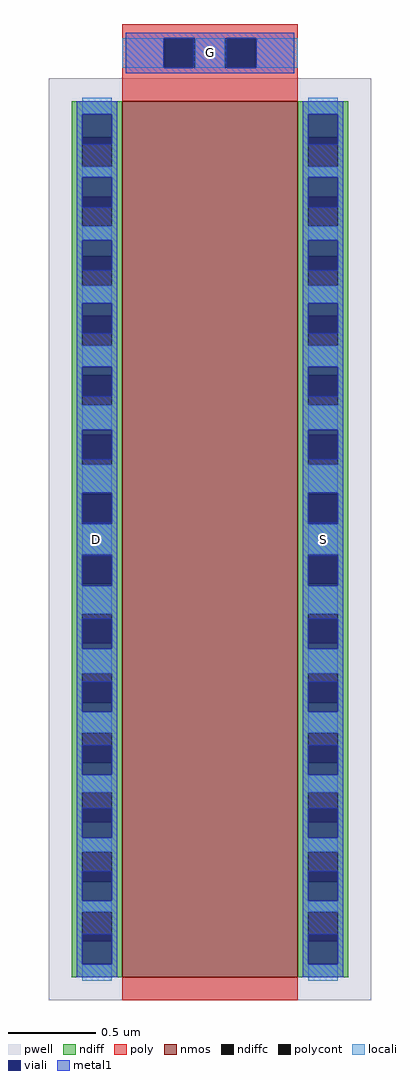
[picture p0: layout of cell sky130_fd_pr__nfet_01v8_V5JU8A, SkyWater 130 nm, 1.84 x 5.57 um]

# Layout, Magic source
magic
tech sky130A
magscale 1 2
<< pwell >>
rect -184 -526 184 526
<< nmos >>
rect -100 -500 100 500
<< ndiff >>
rect -158 459 -100 500
rect -158 425 -146 459
rect -112 425 -100 459
rect -158 391 -100 425
rect -158 357 -146 391
rect -112 357 -100 391
rect -158 323 -100 357
rect -158 289 -146 323
rect -112 289 -100 323
rect -158 255 -100 289
rect -158 221 -146 255
rect -112 221 -100 255
rect -158 187 -100 221
rect -158 153 -146 187
rect -112 153 -100 187
rect -158 119 -100 153
rect -158 85 -146 119
rect -112 85 -100 119
rect -158 51 -100 85
rect -158 17 -146 51
rect -112 17 -100 51
rect -158 -17 -100 17
rect -158 -51 -146 -17
rect -112 -51 -100 -17
rect -158 -85 -100 -51
rect -158 -119 -146 -85
rect -112 -119 -100 -85
rect -158 -153 -100 -119
rect -158 -187 -146 -153
rect -112 -187 -100 -153
rect -158 -221 -100 -187
rect -158 -255 -146 -221
rect -112 -255 -100 -221
rect -158 -289 -100 -255
rect -158 -323 -146 -289
rect -112 -323 -100 -289
rect -158 -357 -100 -323
rect -158 -391 -146 -357
rect -112 -391 -100 -357
rect -158 -425 -100 -391
rect -158 -459 -146 -425
rect -112 -459 -100 -425
rect -158 -500 -100 -459
rect 100 459 158 500
rect 100 425 112 459
rect 146 425 158 459
rect 100 391 158 425
rect 100 357 112 391
rect 146 357 158 391
rect 100 323 158 357
rect 100 289 112 323
rect 146 289 158 323
rect 100 255 158 289
rect 100 221 112 255
rect 146 221 158 255
rect 100 187 158 221
rect 100 153 112 187
rect 146 153 158 187
rect 100 119 158 153
rect 100 85 112 119
rect 146 85 158 119
rect 100 51 158 85
rect 100 17 112 51
rect 146 17 158 51
rect 100 -17 158 17
rect 100 -51 112 -17
rect 146 -51 158 -17
rect 100 -85 158 -51
rect 100 -119 112 -85
rect 146 -119 158 -85
rect 100 -153 158 -119
rect 100 -187 112 -153
rect 146 -187 158 -153
rect 100 -221 158 -187
rect 100 -255 112 -221
rect 146 -255 158 -221
rect 100 -289 158 -255
rect 100 -323 112 -289
rect 146 -323 158 -289
rect 100 -357 158 -323
rect 100 -391 112 -357
rect 146 -391 158 -357
rect 100 -425 158 -391
rect 100 -459 112 -425
rect 146 -459 158 -425
rect 100 -500 158 -459
<< ndiffc >>
rect -146 425 -112 459
rect -146 357 -112 391
rect -146 289 -112 323
rect -146 221 -112 255
rect -146 153 -112 187
rect -146 85 -112 119
rect -146 17 -112 51
rect -146 -51 -112 -17
rect -146 -119 -112 -85
rect -146 -187 -112 -153
rect -146 -255 -112 -221
rect -146 -323 -112 -289
rect -146 -391 -112 -357
rect -146 -459 -112 -425
rect 112 425 146 459
rect 112 357 146 391
rect 112 289 146 323
rect 112 221 146 255
rect 112 153 146 187
rect 112 85 146 119
rect 112 17 146 51
rect 112 -51 146 -17
rect 112 -119 146 -85
rect 112 -187 146 -153
rect 112 -255 146 -221
rect 112 -323 146 -289
rect 112 -391 146 -357
rect 112 -459 146 -425
<< poly >>
rect -100 572 100 588
rect -100 538 -51 572
rect -17 538 17 572
rect 51 538 100 572
rect -100 500 100 538
rect -100 -526 100 -500
<< polycont >>
rect -51 538 -17 572
rect 17 538 51 572
<< locali >>
rect -100 538 -53 572
rect -17 538 17 572
rect 53 538 100 572
rect -146 485 -112 504
rect -146 413 -112 425
rect -146 341 -112 357
rect -146 269 -112 289
rect -146 197 -112 221
rect -146 125 -112 153
rect -146 53 -112 85
rect -146 -17 -112 17
rect -146 -85 -112 -53
rect -146 -153 -112 -125
rect -146 -221 -112 -197
rect -146 -289 -112 -269
rect -146 -357 -112 -341
rect -146 -425 -112 -413
rect -146 -504 -112 -485
rect 112 485 146 504
rect 112 413 146 425
rect 112 341 146 357
rect 112 269 146 289
rect 112 197 146 221
rect 112 125 146 153
rect 112 53 146 85
rect 112 -17 146 17
rect 112 -85 146 -53
rect 112 -153 146 -125
rect 112 -221 146 -197
rect 112 -289 146 -269
rect 112 -357 146 -341
rect 112 -425 146 -413
rect 112 -504 146 -485
<< viali >>
rect -53 538 -51 572
rect -51 538 -19 572
rect 19 538 51 572
rect 51 538 53 572
rect -146 459 -112 485
rect -146 451 -112 459
rect -146 391 -112 413
rect -146 379 -112 391
rect -146 323 -112 341
rect -146 307 -112 323
rect -146 255 -112 269
rect -146 235 -112 255
rect -146 187 -112 197
rect -146 163 -112 187
rect -146 119 -112 125
rect -146 91 -112 119
rect -146 51 -112 53
rect -146 19 -112 51
rect -146 -51 -112 -19
rect -146 -53 -112 -51
rect -146 -119 -112 -91
rect -146 -125 -112 -119
rect -146 -187 -112 -163
rect -146 -197 -112 -187
rect -146 -255 -112 -235
rect -146 -269 -112 -255
rect -146 -323 -112 -307
rect -146 -341 -112 -323
rect -146 -391 -112 -379
rect -146 -413 -112 -391
rect -146 -459 -112 -451
rect -146 -485 -112 -459
rect 112 459 146 485
rect 112 451 146 459
rect 112 391 146 413
rect 112 379 146 391
rect 112 323 146 341
rect 112 307 146 323
rect 112 255 146 269
rect 112 235 146 255
rect 112 187 146 197
rect 112 163 146 187
rect 112 119 146 125
rect 112 91 146 119
rect 112 51 146 53
rect 112 19 146 51
rect 112 -51 146 -19
rect 112 -53 146 -51
rect 112 -119 146 -91
rect 112 -125 146 -119
rect 112 -187 146 -163
rect 112 -197 146 -187
rect 112 -255 146 -235
rect 112 -269 146 -255
rect 112 -323 146 -307
rect 112 -341 146 -323
rect 112 -391 146 -379
rect 112 -413 146 -391
rect 112 -459 146 -451
rect 112 -485 146 -459
<< metal1 >>
rect -96 572 96 578
rect -96 538 -53 572
rect -19 538 19 572
rect 53 538 96 572
rect -96 532 96 538
rect -152 485 -106 500
rect -152 451 -146 485
rect -112 451 -106 485
rect -152 413 -106 451
rect -152 379 -146 413
rect -112 379 -106 413
rect -152 341 -106 379
rect -152 307 -146 341
rect -112 307 -106 341
rect -152 269 -106 307
rect -152 235 -146 269
rect -112 235 -106 269
rect -152 197 -106 235
rect -152 163 -146 197
rect -112 163 -106 197
rect -152 125 -106 163
rect -152 91 -146 125
rect -112 91 -106 125
rect -152 53 -106 91
rect -152 19 -146 53
rect -112 19 -106 53
rect -152 -19 -106 19
rect -152 -53 -146 -19
rect -112 -53 -106 -19
rect -152 -91 -106 -53
rect -152 -125 -146 -91
rect -112 -125 -106 -91
rect -152 -163 -106 -125
rect -152 -197 -146 -163
rect -112 -197 -106 -163
rect -152 -235 -106 -197
rect -152 -269 -146 -235
rect -112 -269 -106 -235
rect -152 -307 -106 -269
rect -152 -341 -146 -307
rect -112 -341 -106 -307
rect -152 -379 -106 -341
rect -152 -413 -146 -379
rect -112 -413 -106 -379
rect -152 -451 -106 -413
rect -152 -485 -146 -451
rect -112 -485 -106 -451
rect -152 -500 -106 -485
rect 106 485 152 500
rect 106 451 112 485
rect 146 451 152 485
rect 106 413 152 451
rect 106 379 112 413
rect 146 379 152 413
rect 106 341 152 379
rect 106 307 112 341
rect 146 307 152 341
rect 106 269 152 307
rect 106 235 112 269
rect 146 235 152 269
rect 106 197 152 235
rect 106 163 112 197
rect 146 163 152 197
rect 106 125 152 163
rect 106 91 112 125
rect 146 91 152 125
rect 106 53 152 91
rect 106 19 112 53
rect 146 19 152 53
rect 106 -19 152 19
rect 106 -53 112 -19
rect 146 -53 152 -19
rect 106 -91 152 -53
rect 106 -125 112 -91
rect 146 -125 152 -91
rect 106 -163 152 -125
rect 106 -197 112 -163
rect 146 -197 152 -163
rect 106 -235 152 -197
rect 106 -269 112 -235
rect 146 -269 152 -235
rect 106 -307 152 -269
rect 106 -341 112 -307
rect 146 -341 152 -307
rect 106 -379 152 -341
rect 106 -413 112 -379
rect 146 -413 152 -379
rect 106 -451 152 -413
rect 106 -485 112 -451
rect 146 -485 152 -451
rect 106 -500 152 -485
<< labels >>
rlabel locali s -129 0 -129 0 4 D
rlabel locali s 129 0 129 0 4 S
rlabel locali s 0 555 0 555 4 G
<< end >>
